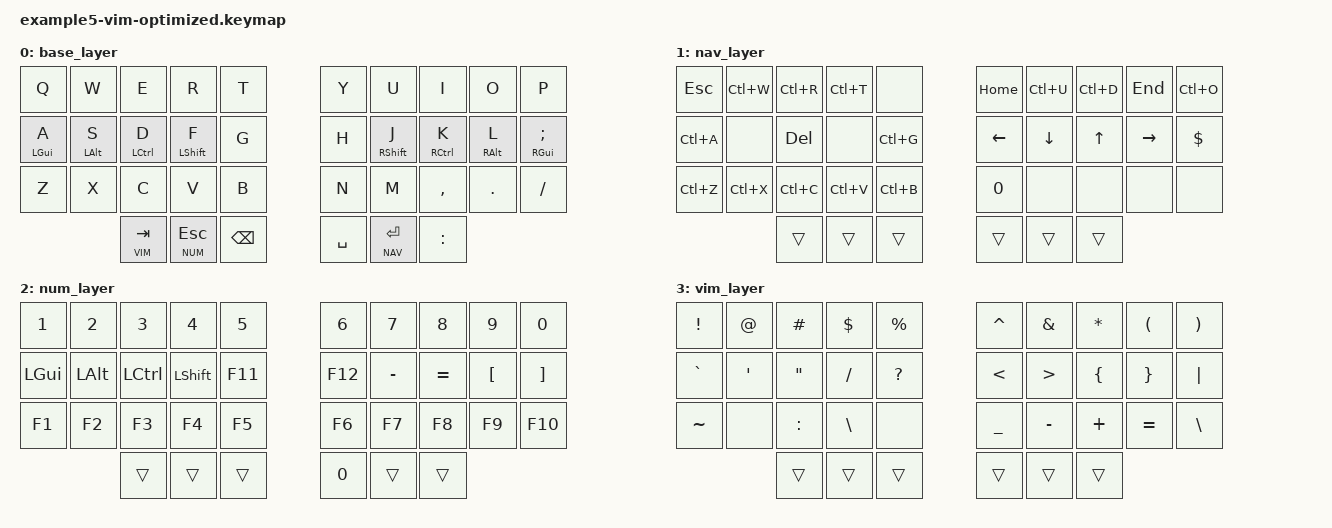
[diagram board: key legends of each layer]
// Example 5: Vim/Modal Editor Optimized
// Philosophy: Optimize for vim motions and modal editing workflows
// Focus: Easy access to HJKL navigation, common vim commands
// Thumb Strategy: Modal layer access + leader key equivalent

#include <behaviors.dtsi>
#include <dt-bindings/zmk/keys.h>

#define BASE 0
#define NAV  1
#define NUM  2
#define VIM  3

/ {
    keymap {
        compatible = "zmk,keymap";

        base_layer {
            bindings = <
    // ╭─────────────┬─────────────┬─────────────┬─────────────┬─────────────╮   ╭─────────────┬─────────────┬─────────────┬─────────────┬─────────────╮
         &kp Q         &kp W         &kp E         &kp R         &kp T             &kp Y         &kp U         &kp I         &kp O         &kp P
    // ├─────────────┼─────────────┼─────────────┼─────────────┼─────────────┤   ├─────────────┼─────────────┼─────────────┼─────────────┼─────────────┤
         &mt LGUI A    &mt LALT S    &mt LCTRL D   &mt LSHFT F   &kp G             &kp H         &mt RSHFT J   &mt RCTRL K   &mt RALT L    &mt RGUI SEMI
    // ├─────────────┼─────────────┼─────────────┼─────────────┼─────────────┤   ├─────────────┼─────────────┼─────────────┼─────────────┼─────────────┤
         &kp Z         &kp X         &kp C         &kp V         &kp B             &kp N         &kp M         &kp COMMA     &kp DOT       &kp FSLH
    // ╰─────────────┴─────────────┴─────────────┼─────────────┼─────────────┤   ├─────────────┼─────────────┼─────────────┴─────────────┴─────────────╯
                                     &lt VIM TAB   &lt NUM ESC   &kp BSPC          &kp SPACE     &lt NAV RET   &kp COLON
    //                               ╰─────────────┴─────────────┴─────────────╯   ╰─────────────┴─────────────┴─────────────╯
            >;
        };

        nav_layer {
            // Vim-like navigation on home row
            bindings = <
         &kp ESC       &kp LC(W)     &kp LC(R)     &kp LC(T)     &none             &kp HOME      &kp LC(U)     &kp LC(D)     &kp END       &kp LC(O)
         &kp LC(A)     &none         &kp DEL       &none         &kp LC(G)         &kp LEFT      &kp DOWN      &kp UP        &kp RIGHT     &kp DLLR
         &kp LC(Z)     &kp LC(X)     &kp LC(C)     &kp LC(V)     &kp LC(B)         &kp N0        &none         &none         &none         &none
                                     &trans        &trans        &trans            &trans        &trans        &trans
            >;
        };

        num_layer {
            bindings = <
         &kp N1        &kp N2        &kp N3        &kp N4        &kp N5            &kp N6        &kp N7        &kp N8        &kp N9        &kp N0
         &kp LGUI      &kp LALT      &kp LCTRL     &kp LSHFT     &kp F11           &kp F12       &kp MINUS     &kp EQUAL     &kp LBKT      &kp RBKT
         &kp F1        &kp F2        &kp F3        &kp F4        &kp F5            &kp F6        &kp F7        &kp F8        &kp F9        &kp F10
                                     &trans        &trans        &trans            &kp N0        &trans        &trans
            >;
        };

        vim_layer {
            // Special vim commands and symbols
            bindings = <
         &kp EXCL      &kp AT        &kp HASH      &kp DLLR      &kp PRCNT         &kp CARET     &kp AMPS      &kp STAR      &kp LPAR      &kp RPAR
         &kp GRAVE     &kp SQT       &kp DQT       &kp FSLH      &kp QMARK         &kp LT        &kp GT        &kp LBRC      &kp RBRC      &kp PIPE
         &kp TILDE     &none         &kp COLON     &kp BSLH      &none             &kp UNDER     &kp MINUS     &kp PLUS      &kp EQUAL     &kp BSLH
                                     &trans        &trans        &trans            &trans        &trans        &trans
            >;
        };
    };
};
